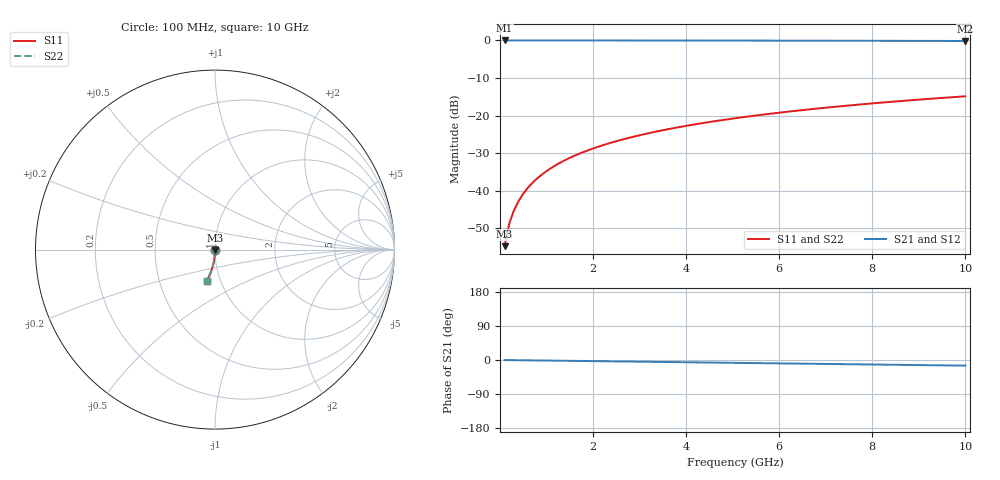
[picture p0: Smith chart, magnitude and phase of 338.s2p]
# Hz S RI R 50.00
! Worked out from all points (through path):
!   100 points, 100 MHz to 10 GHz, reference 50 ohm
!   highest |S21| = 0.00 dB at 100 MHz (marker M1); lowest = -0.1 dB at 10 GHz (marker M2)
!   group delay of S21, straight-line fit = 4.13 ps
!   lowest |S11| = -54.8 dB at 100 MHz (marker M3), VSWR 1.00, Z = 50 - j0.182 ohm
!   |S11| at or under -10 dB: start of sweep to end of sweep
!   |S22| runs from -54.8 to -14.9 dB; largest |S21 - S12| = 0
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1e8  8.45e-05 -0.00182  0.9999 -0.00258  0.9999 -0.00258  8.45e-05 -0.00182
2e8  6.9e-05 -0.00363  0.9999 -0.00516  0.9999 -0.00516  6.9e-05 -0.00363
3e8  4.39e-05 -0.00545  0.9999 -0.00774  0.9999 -0.00774  4.39e-05 -0.00545
4e8  9.39e-06 -0.00726  0.9998 -0.0103  0.9998 -0.0103  9.39e-06 -0.00726
5e8  -3.46e-05 -0.00908  0.9998 -0.0129  0.9998 -0.0129  -3.46e-05 -0.00908
6e8  -8.79e-05 -0.0109  0.9997 -0.0155  0.9997 -0.0155  -8.79e-05 -0.0109
7e8  -0.000151 -0.0127  0.9996 -0.0181  0.9996 -0.0181  -0.000151 -0.0127
8e8  -0.000223 -0.0145  0.9996 -0.0206  0.9996 -0.0206  -0.000223 -0.0145
9e8  -0.000304 -0.0163  0.9995 -0.0232  0.9995 -0.0232  -0.000304 -0.0163
1.1e9  -0.000496 -0.02  0.9993 -0.0284  0.9993 -0.0284  -0.000496 -0.02
1.4e9  -0.000854 -0.0254  0.9989 -0.0361  0.9989 -0.0361  -0.000854 -0.0254
1.8e9  -0.00146 -0.0327  0.9983 -0.0464  0.9983 -0.0464  -0.00146 -0.0327
2.1e9  -0.00202 -0.0381  0.9977 -0.0542  0.9977 -0.0542  -0.00202 -0.0381
2.5e9  -0.00289 -0.0454  0.9967 -0.0645  0.9967 -0.0645  -0.00289 -0.0454
2.9e9  -0.00392 -0.0526  0.9956 -0.0748  0.9956 -0.0748  -0.00392 -0.0526
3.4e9  -0.00541 -0.0616  0.9941 -0.0876  0.9941 -0.0876  -0.00541 -0.0616
4.2e9  -0.00828 -0.076  0.991 -0.1082  0.991 -0.1082  -0.00828 -0.076
5.1e9  -0.0122 -0.092  0.9868 -0.1311  0.9868 -0.1311  -0.0122 -0.092
5.9e9  -0.0164 -0.106  0.9824 -0.1514  0.9824 -0.1514  -0.0164 -0.106
6.7e9  -0.0211 -0.1199  0.9774 -0.1715  0.9774 -0.1715  -0.0211 -0.1199
8.4e9  -0.0329 -0.1485  0.9647 -0.2135  0.9647 -0.2135  -0.0329 -0.1485
1e10  -0.0463 -0.1743  0.9505 -0.252  0.9505 -0.252  -0.0463 -0.1743
